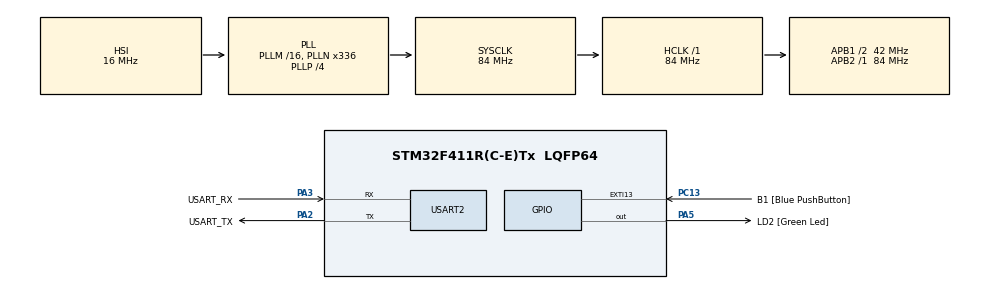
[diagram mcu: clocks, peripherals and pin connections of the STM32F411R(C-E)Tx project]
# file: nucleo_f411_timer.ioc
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Mcu.Family=STM32F4
Mcu.Name=STM32F411R(C-E)Tx
Mcu.Package=LQFP64
NVIC.PriorityGroup=NVIC_PRIORITYGROUP_0
NVIC.TIM2_IRQn=true\:0\:0\:false\:false\:true\:true\:true\:true
NVIC.USART2_IRQn=true\:0\:0\:false\:false\:true\:true\:true\:true
PA13.GPIO_Label=TMS
PA13.Mode=Serial_Wire
PA13.Signal=SYS_JTMS-SWDIO
PA14.GPIO_Label=TCK
PA14.Mode=Serial_Wire
PA14.Signal=SYS_JTCK-SWCLK
PA2.GPIO_Label=USART_TX
PA2.Mode=Asynchronous
PA2.Signal=USART2_TX
PA3.GPIO_Label=USART_RX
PA3.Mode=Asynchronous
PA3.Signal=USART2_RX
PA5.GPIO_Label=LD2 [Green Led]
PA5.Signal=GPIO_Output
PB3.GPIO_Label=SWO
PB3.Signal=SYS_JTDO-SWO
PC13-ANTI_TAMP.GPIO_Label=B1 [Blue PushButton]
PC13-ANTI_TAMP.GPIO_ModeDefaultEXTI=GPIO_MODE_IT_FALLING
PC13-ANTI_TAMP.Signal=GPXTI13
PC14-OSC32_IN.Mode=LSE-External-Oscillator
PC14-OSC32_IN.Signal=RCC_OSC32_IN
PC15-OSC32_OUT.Mode=LSE-External-Oscillator
PC15-OSC32_OUT.Signal=RCC_OSC32_OUT
PH0\ -\ OSC_IN.Mode=HSE-External-Clock-Source
PH0\ -\ OSC_IN.Signal=RCC_OSC_IN
PH1\ -\ OSC_OUT.Mode=HSE-External-Clock-Source
PH1\ -\ OSC_OUT.Signal=RCC_OSC_OUT
ProjectManager.HeapSize=0x200
ProjectManager.StackSize=0x400
ProjectManager.TargetToolchain=STM32CubeIDE
RCC.48MHZClocksFreq_Value=84000000
RCC.AHBFreq_Value=84000000
RCC.APB1CLKDivider=RCC_HCLK_DIV2
RCC.APB1Freq_Value=42000000
RCC.APB1TimFreq_Value=84000000
RCC.APB2Freq_Value=84000000
RCC.APB2TimFreq_Value=84000000
RCC.CortexFreq_Value=84000000
RCC.FLatency-AdvancedSettings=FLASH_LATENCY_2
RCC.HCLKFreq_Value=84000000
RCC.HSE_VALUE=8000000
RCC.HSI_VALUE=16000000
RCC.PLLN=336
RCC.PLLP=RCC_PLLP_DIV4
RCC.SYSCLKFreq_VALUE=84000000
RCC.SYSCLKSource=RCC_SYSCLKSOURCE_PLLCLK
RCC.VCOOutputFreq_Value=336000000
TIM2.Period=9999
TIM2.Prescaler=8399
USART2.VirtualMode=VM_ASYNC
VP_TIM2_VS_ClockSourceINT.Mode=Internal
board=NUCLEO-F411RE

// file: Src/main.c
/* USER CODE BEGIN Header */
/**
  ******************************************************************************
  * @file           : main.c
  * @brief          : Main program body
  ******************************************************************************
  * @attention
  *
  * Copyright (c) 2026 STMicroelectronics.
  * All rights reserved.
  *
  * This software is licensed under terms that can be found in the LICENSE file
  * in the root directory of this software component.
  * If no LICENSE file comes with this software, it is provided AS-IS.
  *
  ******************************************************************************
  */
/* USER CODE END Header */
#include "main.h"
#include "tim.h"
#include "usart.h"
#include "gpio.h"

/* USER CODE BEGIN Includes */
#include "stdio.h"
#include "string.h"
/* USER CODE END Includes */

void SystemClock_Config(void);
/* USER CODE BEGIN PFP */
void timertick_process(void);
void LED_OnOff(uint32_t time);  // Only LED2
void LED_Test(void); 			// Only LED2
/* USER CODE END PFP */

/* USER CODE BEGIN 0 */
volatile uint32_t timertick = 0;
char aTxBuffer[1024];

/* USER CODE END 0 */

int main(void)
{

  /* MCU Configuration--------------------------------------------------------*/

  /* Reset of all peripherals, Initializes the Flash interface and the Systick. */
  HAL_Init();

  /* Configure the system clock */
  SystemClock_Config();

  /* Initialize all configured peripherals */
  MX_GPIO_Init();
  MX_TIM2_Init();
  MX_USART2_UART_Init();
  /* USER CODE BEGIN 2 */
  HAL_TIM_Base_Start_IT(&htim2);
  LED_OnOff(5000);
  /* USER CODE END 2 */

  /* Infinite loop */
  /* USER CODE BEGIN WHILE */
  while (1)
  {
	  LED_Test();
    /* USER CODE END WHILE */

  }
}

void SystemClock_Config(void)
{
  RCC_OscInitTypeDef RCC_OscInitStruct = {0};
  RCC_ClkInitTypeDef RCC_ClkInitStruct = {0};

  /** Configure the main internal regulator output voltage
  */
  __HAL_RCC_PWR_CLK_ENABLE();
  __HAL_PWR_VOLTAGESCALING_CONFIG(PWR_REGULATOR_VOLTAGE_SCALE1);

  /** Initializes the RCC Oscillators according to the specified parameters
  * in the RCC_OscInitTypeDef structure.
  */
  RCC_OscInitStruct.OscillatorType = RCC_OSCILLATORTYPE_HSI;
  RCC_OscInitStruct.HSIState = RCC_HSI_ON;
  RCC_OscInitStruct.HSICalibrationValue = RCC_HSICALIBRATION_DEFAULT;
  RCC_OscInitStruct.PLL.PLLState = RCC_PLL_ON;
  RCC_OscInitStruct.PLL.PLLSource = RCC_PLLSOURCE_HSI;
  RCC_OscInitStruct.PLL.PLLM = 16;
  RCC_OscInitStruct.PLL.PLLN = 336;
  RCC_OscInitStruct.PLL.PLLP = RCC_PLLP_DIV4;
  RCC_OscInitStruct.PLL.PLLQ = 4;
  if (HAL_RCC_OscConfig(&RCC_OscInitStruct) != HAL_OK)
  {
    Error_Handler();
  }

  /** Initializes the CPU, AHB and APB buses clocks
  */
  RCC_ClkInitStruct.ClockType = RCC_CLOCKTYPE_HCLK|RCC_CLOCKTYPE_SYSCLK
                              |RCC_CLOCKTYPE_PCLK1|RCC_CLOCKTYPE_PCLK2;
  RCC_ClkInitStruct.SYSCLKSource = RCC_SYSCLKSOURCE_PLLCLK;
  RCC_ClkInitStruct.AHBCLKDivider = RCC_SYSCLK_DIV1;
  RCC_ClkInitStruct.APB1CLKDivider = RCC_HCLK_DIV2;
  RCC_ClkInitStruct.APB2CLKDivider = RCC_HCLK_DIV1;

  if (HAL_RCC_ClockConfig(&RCC_ClkInitStruct, FLASH_LATENCY_2) != HAL_OK)
  {
    Error_Handler();
  }
}

/* USER CODE BEGIN 4 */
uint32_t _1sec_tick = 0;

void HAL_TIM_PeriodElapsedCallback(TIM_HandleTypeDef *htim)
{
	if(htim -> Instance == TIM2){
		timertick++;
		if((timertick % 1000) == 0){
			_1sec_tick = 1;
		}
	}

}
void timertick_process(){
	if(_1sec_tick == 1){
		_1sec_tick = 0;
		HAL_GPIO_TogglePin(LD2_GPIO_Port, LD2_Pin);
	}
}
void LED_OnOff(uint32_t time){
	HAL_GPIO_WritePin(LD2_GPIO_Port, LD2_Pin, GPIO_PIN_SET);
	HAL_Delay(time);
	HAL_GPIO_WritePin(LD2_GPIO_Port, LD2_Pin, GPIO_PIN_RESET);
}

void LED_Test(){
	HAL_GPIO_WritePin(LD2_GPIO_Port, LD2_Pin, GPIO_PIN_SET);
}
/* USER CODE END 4 */

void Error_Handler(void)
{
  __disable_irq();
  while (1)
  {
  }
}
